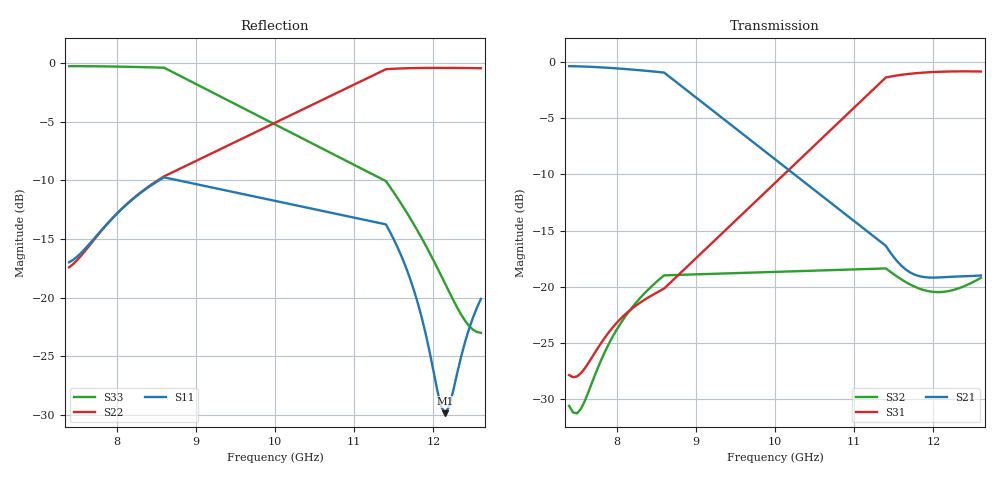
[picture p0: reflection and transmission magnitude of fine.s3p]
! yapnr rf: diplexer-x8x12, footprint re-simulated (refine 2)
! spec sha256 ef2c169852b7fa958bd1cfd29e224f501703003c4a9cb40ad4b62f1f70cdd8ac
! 3 ports renormalized to 50 ohm, e^(+jwt) convention
# GHz S RI R 50
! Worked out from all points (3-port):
!   50 points, 7.4 GHz to 12.6 GHz, reference 50 ohm
!   strongest paths, dB at 7.4 GHz, 8 GHz, 11.4 GHz, 12 GHz, 12.6 GHz:
!     S21: -0.4, -0.5, -16.4, -19.2, -19.0
!     S31: -27.9, -23.2, -1.4, -0.9, -0.8
!     S32: -30.6, -23.8, -18.4, -20.5, -19.2
!   lowest |S11| = -29.9 dB at 12.15 GHz (marker M1), VSWR 1.07, Z = 48.9 - j2.97 ohm
!   |S11| at or under -10 dB: start of sweep to 8.533 GHz; 8.787 GHz to end of sweep
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7.4  0.1415 0.00112  0.1516 0.9471  0.0263 0.041
     0.1537 0.9479  0.1267 -0.0458  -0.0247 0.0173
     0.0227 0.0334  -0.0264 0.0131  0.4134 -0.8804
7.55  0.1541 0.0173  0.2823 0.9142  0.0135 0.0475
      0.2848 0.9143  0.1106 -0.1025  -0.00472 0.0314
      0.00843 0.0403  -0.00639 0.0278  0.3137 -0.9208
8.05  0.2363 0.00711  0.6472 0.6767  -0.00472 0.0745
      0.6493 0.6742  -0.00337 -0.2368  0.0639 0.0277
      -0.0135 0.0707  0.0637 0.0254  -0.0159 -0.9679
8.6  0.2928 -0.1437  0.8619 0.2636  -0.00753 0.0953
     0.8609 0.2594  -0.1633 -0.2861  0.102 -0.0392
     -0.0179 0.0965  0.1036 -0.0433  -0.3491 -0.892
11.4  0.1513 0.1389  -0.0939 -0.1116  0.8289 -0.1261
      -0.0973 -0.1168  -0.7283 0.6003  0.0273 0.1061
      0.844 -0.1383  0.0329 0.116  -0.2304 0.2139
11.75  0.1087 0.000926  -0.0439 -0.1004  0.7458 -0.4662
       -0.0509 -0.1017  -0.5772 0.7602  0.0769 0.047
       0.7502 -0.4815  0.0869 0.0504  -0.1412 0.1507
12.1  0.00376 -0.0339  -0.0238 -0.1094  0.5272 -0.7305
      -0.0309 -0.1056  -0.4024 0.8677  0.081 -0.0216
      0.5224 -0.7417  0.0912 -0.0253  -0.0927 0.0821
12.15  -0.0104 -0.0304  -0.0226 -0.1107  0.488 -0.7594
       -0.0295 -0.1063  -0.3763 0.8792  0.0782 -0.0308
       0.4824 -0.7696  0.0882 -0.0354  -0.0884 0.0726
12.4  -0.0638 0.0101  -0.0193 -0.1159  0.2732 -0.8665
      -0.0242 -0.1087  -0.243 0.9237  0.0542 -0.071
      0.2653 -0.8709  0.0618 -0.0797  -0.0746 0.0281
12.6  -0.08 0.0578  -0.0171 -0.119  0.0878 -0.9056
      -0.02 -0.1104  -0.1335 0.9438  0.0246 -0.0944
      0.0801 -0.9056  0.0296 -0.1054  -0.0707 -0.0034
